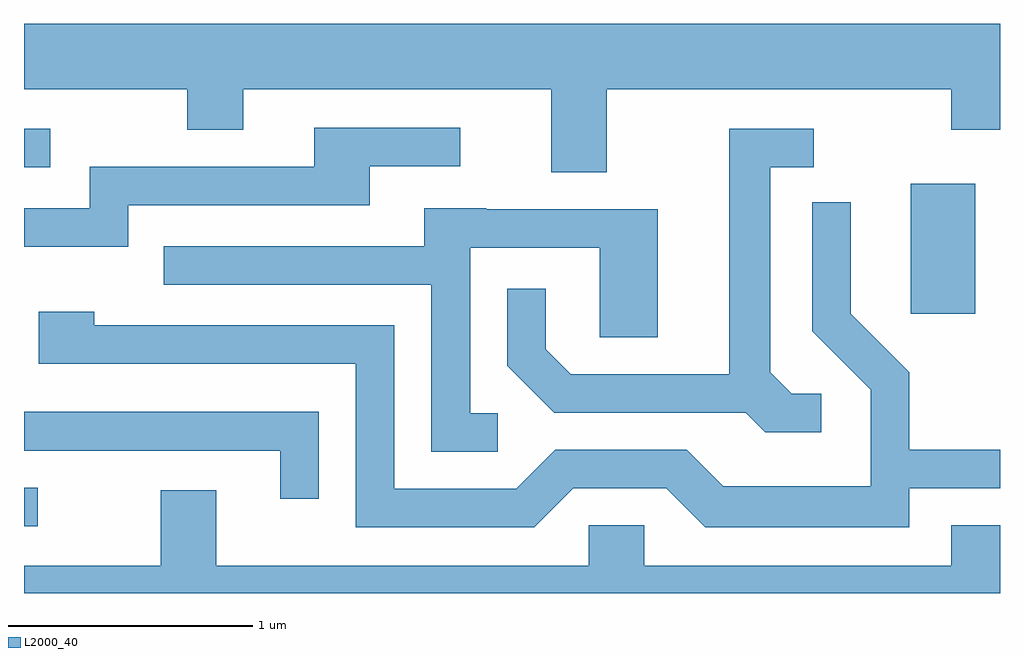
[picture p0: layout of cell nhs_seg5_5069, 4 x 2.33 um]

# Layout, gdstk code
import gdstk
lib = gdstk.Library(unit=1e-6, precision=1e-09)
def R(c, l, rs):  # rectangles x0, y0, x1, y1
    for r in rs: c.add(gdstk.rectangle(r[:2], r[2:], *l))
def P(c, l, *ps):  # polygons
    for p in ps: c.add(gdstk.Polygon(p, *l))
L2000_40 = (2000, 40)

nhs_seg5_5069 = lib.new_cell('nhs_seg5_5069')
R(nhs_seg5_5069, L2000_40, [(335.611,1448.346,335.668,1448.504), (339.246,1449.216,339.509,1449.749), (335.611,1449.816,335.718,1449.974)])
P(nhs_seg5_5069, L2000_40, [(337.999,1450.136),(339.411,1450.136),(339.411,1449.971),(339.611,1449.971),(339.611,1450.404),(335.611,1450.404),(335.611,1450.136),(336.281,1450.136),(336.281,1449.971),(336.509,1449.971),(336.509,1450.136),(337.771,1450.136),(337.771,1449.796),(337.999,1449.796)],
  [(336.039,1449.661),(337.029,1449.661),(337.029,1449.821),(337.398,1449.821),(337.398,1449.979),(336.801,1449.979),(336.801,1449.819),(335.881,1449.819),(335.881,1449.649),(335.611,1449.649),(335.611,1449.491),(336.039,1449.491)],
  [(338.878,1448.889),(338.757,1448.889),(338.669,1448.977),(338.669,1449.816),(338.848,1449.816),(338.848,1449.974),(338.501,1449.974),(338.501,1448.969),(337.852,1448.969),(337.749,1449.072),(337.749,1449.318),(337.591,1449.318),(337.591,1449.004),(337.784,1448.811),(338.569,1448.811),(338.649,1448.731),(338.878,1448.731)],
  [(337.862,1448.501),(338.244,1448.501),(338.404,1448.341),(339.239,1448.341),(339.239,1448.501),(339.611,1448.501),(339.611,1448.659),(339.239,1448.659),(339.239,1448.977),(338.999,1449.217),(338.999,1449.673),(338.841,1449.673),(338.841,1449.144),(339.081,1448.904),(339.081,1448.509),(338.477,1448.509),(338.327,1448.659),(337.789,1448.659),(337.629,1448.499),(337.129,1448.499),(337.129,1449.169),(335.899,1449.169),(335.899,1449.224),(335.671,1449.224),(335.671,1449.011),(336.971,1449.011),(336.971,1448.341),(337.702,1448.341)],
  [(337.553,1448.809),(337.439,1448.809),(337.439,1449.486),(337.971,1449.486),(337.971,1449.121),(338.209,1449.121),(338.209,1449.644),(337.505,1449.644),(337.505,1449.649),(337.251,1449.649),(337.251,1449.494),(336.183,1449.494),(336.183,1449.336),(337.281,1449.336),(337.281,1448.651),(337.553,1448.651)],
  [(336.819,1448.814),(335.611,1448.814),(335.611,1448.656),(336.661,1448.656),(336.661,1448.458),(336.819,1448.458)],
  [(339.611,1448.349),(339.411,1448.349),(339.411,1448.184),(338.154,1448.184),(338.154,1448.349),(337.926,1448.349),(337.926,1448.184),(336.399,1448.184),(336.399,1448.494),(336.171,1448.494),(336.171,1448.184),(335.611,1448.184),(335.611,1448.072),(339.611,1448.072)])

lib.write_gds('nhs_seg5_5069.gds')
